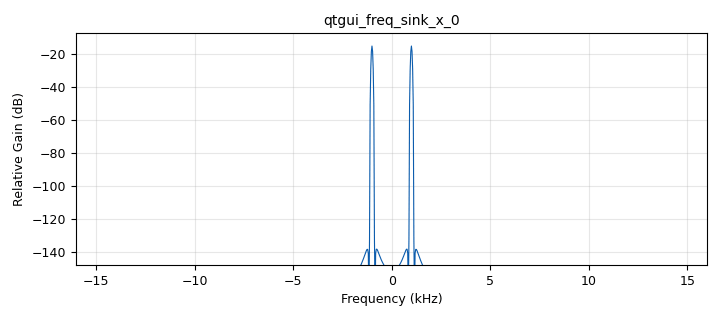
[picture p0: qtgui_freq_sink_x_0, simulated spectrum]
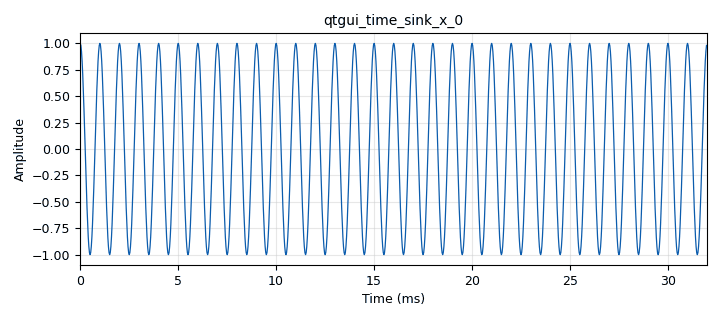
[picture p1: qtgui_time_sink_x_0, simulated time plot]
options:
  parameters:
    author: 2194667_Martinez_2195534_Perdomo_2184684_Ariza
    category: '[Modulos_J1C_G5]'
    copyright: UIS
    generate_options: qt_gui
    id: Validar_Potencia
    output_language: python
    title: Validar_Potencia
  states: {}

blocks:
- name: Amplitud
  id: variable_qtgui_range
  parameters:
    start: '0'
    step: '1'
    stop: '50'
    value: '1'
  states: {}
- name: samp_rate
  id: variable
  parameters:
    value: '32000'
  states: {}
- name: CalculoPotenciaComunicaciones_0
  id: CalculoPotenciaComunicaciones
  parameters:
    I_vect: '1024'
  states: {}
- name: analog_sig_source_x_0
  id: analog_sig_source_x
  parameters:
    amp: Amplitud
    freq: '1000'
    offset: '0'
    phase: '0'
    samp_rate: samp_rate
    type: float
    waveform: analog.GR_COS_WAVE
  states: {}
- name: qtgui_freq_sink_x_0
  id: qtgui_freq_sink_x
  parameters:
    autoscale: 'True'
    bw: samp_rate
    fc: '0'
    fftsize: '1024'
    type: float
  states: {}
- name: qtgui_time_sink_x_0
  id: qtgui_time_sink_x
  parameters:
    autoscale: 'True'
    size: '1024'
    srate: samp_rate
    type: float
  states: {}

connections:
- [analog_sig_source_x_0, '0', CalculoPotenciaComunicaciones_0, '0']
- [analog_sig_source_x_0, '0', qtgui_freq_sink_x_0, '0']
- [analog_sig_source_x_0, '0', qtgui_time_sink_x_0, '0']

metadata:
  file_format: 1
